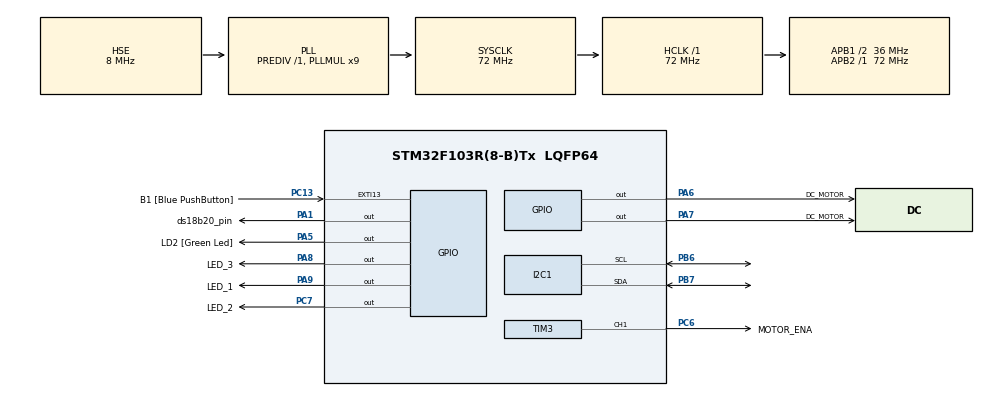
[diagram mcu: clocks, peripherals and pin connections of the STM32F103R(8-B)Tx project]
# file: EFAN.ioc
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Mcu.Family=STM32F1
Mcu.Name=STM32F103R(8-B)Tx
Mcu.Package=LQFP64
NVIC.EXTI15_10_IRQn=true\:0\:0\:false\:false\:true\:true\:true\:true
NVIC.PriorityGroup=NVIC_PRIORITYGROUP_4
NVIC.TIM3_IRQn=true\:0\:0\:false\:false\:true\:true\:true\:true
PA1.GPIO_Label=ds18b20_pin
PA1.Signal=GPIO_Output
PA13.GPIO_Label=TMS
PA13.Mode=Serial_Wire
PA13.Signal=SYS_JTMS-SWDIO
PA14.GPIO_Label=TCK
PA14.Mode=Serial_Wire
PA14.Signal=SYS_JTCK-SWCLK
PA2.GPIO_Label=USART_TX
PA2.GPIO_Mode=GPIO_MODE_AF_PP
PA2.GPIO_PuPd=GPIO_NOPULL
PA2.GPIO_Speed=GPIO_SPEED_FREQ_LOW
PA2.Signal=USART2_TX
PA3.GPIO_Label=USART_RX
PA3.GPIO_Mode=GPIO_MODE_AF_PP
PA3.GPIO_PuPd=GPIO_NOPULL
PA3.GPIO_Speed=GPIO_SPEED_FREQ_LOW
PA3.Signal=USART2_RX
PA5.GPIO_Label=LD2 [Green Led]
PA5.GPIO_ModeDefaultOutputPP=GPIO_MODE_OUTPUT_PP
PA5.GPIO_PuPd=GPIO_NOPULL
PA5.GPIO_Speed=GPIO_SPEED_FREQ_LOW
PA5.Signal=GPIO_Output
PA6.GPIO_Label=DC_MOTOR
PA6.Signal=GPIO_Output
PA7.GPIO_Label=DC_MOTOR
PA7.Signal=GPIO_Output
PA8.GPIO_Label=LED_3
PA8.Signal=GPIO_Output
PA9.GPIO_Label=LED_1
PA9.Signal=GPIO_Output
PB3.GPIO_Label=SWO
PB3.Signal=SYS_JTDO-TRACESWO
PB6.Mode=I2C
PB6.Signal=I2C1_SCL
PB7.Mode=I2C
PB7.Signal=I2C1_SDA
PC13-TAMPER-RTC.GPIO_Label=B1 [Blue PushButton]
PC13-TAMPER-RTC.GPIO_PuPd=GPIO_NOPULL
PC13-TAMPER-RTC.Signal=GPXTI13
PC14-OSC32_IN.Mode=LSE-External-Oscillator
PC14-OSC32_IN.Signal=RCC_OSC32_IN
PC15-OSC32_OUT.Mode=LSE-External-Oscillator
PC15-OSC32_OUT.Signal=RCC_OSC32_OUT
PC6.GPIO_Label=MOTOR_ENA
PC6.Signal=S_TIM3_CH1
PC7.GPIO_Label=LED_2
PC7.Signal=GPIO_Output
PD0-OSC_IN.Mode=HSE-External-Oscillator
PD0-OSC_IN.Signal=RCC_OSC_IN
PD1-OSC_OUT.Mode=HSE-External-Oscillator
PD1-OSC_OUT.Signal=RCC_OSC_OUT
ProjectManager.HeapSize=0x200
ProjectManager.StackSize=0x400
ProjectManager.TargetToolchain=STM32CubeIDE
RCC.AHBFreq_Value=72000000
RCC.APB1CLKDivider=RCC_HCLK_DIV2
RCC.APB1Freq_Value=36000000
RCC.APB1TimFreq_Value=72000000
RCC.APB2Freq_Value=72000000
RCC.APB2TimFreq_Value=72000000
RCC.HCLKFreq_Value=72000000
RCC.PLLMUL=RCC_PLL_MUL9
RCC.PLLSourceVirtual=RCC_PLLSOURCE_HSE
RCC.RTCClockSelection=RCC_RTCCLKSOURCE_LSE
RCC.SYSCLKFreq_VALUE=72000000
RCC.SYSCLKSource=RCC_SYSCLKSOURCE_PLLCLK
RCC.USBFreq_Value=72000000
SH.S_TIM3_CH1.0=TIM3_CH1,PWM Generation1 CH1
TIM1.Period=65535-1
TIM1.Prescaler=72-1
TIM3.Channel-PWM\ Generation1\ CH1=TIM_CHANNEL_1
TIM3.Period=2000-1
TIM3.Prescaler=72-1
VP_TIM1_VS_ClockSourceINT.Mode=Internal
VP_TIM3_VS_ClockSourceINT.Mode=Internal
board=NUCLEO-F103RB

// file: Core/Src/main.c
/* USER CODE BEGIN Header */
/**
  ******************************************************************************
  * @file           : main.c
  * @brief          : Main program body
  ******************************************************************************
  * @attention
  *
  * Copyright (c) 2025 STMicroelectronics.
  * All rights reserved.
  *
  * This software is licensed under terms that can be found in the LICENSE file
  * in the root directory of this software component.
  * If no LICENSE file comes with this software, it is provided AS-IS.
  *
  ******************************************************************************
  */
/* USER CODE END Header */
#include "main.h"

/* USER CODE BEGIN Includes */
#include "i2c-lcd.h"
#include "ds18b20.h"
#include "Motor.h"
/* USER CODE END Includes */

I2C_HandleTypeDef hi2c1;

TIM_HandleTypeDef htim1;
TIM_HandleTypeDef htim3;

void SystemClock_Config(void);
static void MX_GPIO_Init(void);
static void MX_I2C1_Init(void);
static void MX_TIM1_Init(void);
static void MX_TIM3_Init(void);

/* USER CODE BEGIN 0 */
float TEM; //Temperature

/* USER CODE END 0 */

int main(void)
{

  /* MCU Configuration--------------------------------------------------------*/

  /* Reset of all peripherals, Initializes the Flash interface and the Systick. */
  HAL_Init();

  /* Configure the system clock */
  SystemClock_Config();

  /* Initialize all configured peripherals */
  MX_GPIO_Init();
  MX_I2C1_Init();
  MX_TIM1_Init();
  MX_TIM3_Init();
  /* USER CODE BEGIN 2 */
  HAL_TIM_Base_Start(&htim1);
  HAL_TIM_PWM_Start(&htim3,TIM_CHANNEL_1);
  lcd_init();
  lcd_clear();
  lcd_put_cur(0,0);
  Motor_Stop();

  /* USER CODE END 2 */

  /* Infinite loop */
  /* USER CODE BEGIN WHILE */
  while (1)
  {
	  TEM = DS18B20_Temperature(); // measure Temperature
	  lcd_Display_Temp(TEM); // print Temperature

	  //Temperature is below 21
	  	  if(TEM<21){
	  		  //ALL LED OFF
	  		  HAL_GPIO_WritePin(GPIOA,GPIO_PIN_9,0); // LED1
	  		  HAL_GPIO_WritePin(GPIOC,GPIO_PIN_7,0); // LED2
	  		  HAL_GPIO_WritePin(GPIOA,GPIO_PIN_8,0); // LED3
	  		  //Motor Stop
	  		  Motor_Stop();
	  	  }

	  //Temperature is above 21 and below 22
	  if(21<=TEM&&TEM<22){
		  //LED1 ON
		  HAL_GPIO_WritePin(GPIOA,GPIO_PIN_9,1);
		  HAL_GPIO_WritePin(GPIOC,GPIO_PIN_7,0);
		  HAL_GPIO_WritePin(GPIOA,GPIO_PIN_8,0);
		  //Run the Motor at Low speed
		  Motor_Run_Lowspeed();
	  }

	  //Temperature is above 22 and below 23
	  if(22<=TEM&&TEM<23){
		  //LED1,2 ON
		  HAL_GPIO_WritePin(GPIOA,GPIO_PIN_9,1);
		  HAL_GPIO_WritePin(GPIOC,GPIO_PIN_7,1);
		  HAL_GPIO_WritePin(GPIOA,GPIO_PIN_8,0);
		  //Run the Motor at Medium speed
		  Motor_Run_Mediumspeed();
	  }

	  //Temperature is above 23
	  if(23<=TEM){
		  //LED1,2,3 ON
		  HAL_GPIO_WritePin(GPIOA,GPIO_PIN_9,1);
		  HAL_GPIO_WritePin(GPIOC,GPIO_PIN_7,1);
		  HAL_GPIO_WritePin(GPIOA,GPIO_PIN_8,1);
		  //Run the Motor at High speed
		  Motor_Run_Highspeed();
	  }

    /* USER CODE END WHILE */

  }
}

void SystemClock_Config(void)
{
  RCC_OscInitTypeDef RCC_OscInitStruct = {0};
  RCC_ClkInitTypeDef RCC_ClkInitStruct = {0};

  /** Initializes the RCC Oscillators according to the specified parameters
  * in the RCC_OscInitTypeDef structure.
  */
  RCC_OscInitStruct.OscillatorType = RCC_OSCILLATORTYPE_HSE;
  RCC_OscInitStruct.HSEState = RCC_HSE_ON;
  RCC_OscInitStruct.HSEPredivValue = RCC_HSE_PREDIV_DIV1;
  RCC_OscInitStruct.HSIState = RCC_HSI_ON;
  RCC_OscInitStruct.PLL.PLLState = RCC_PLL_ON;
  RCC_OscInitStruct.PLL.PLLSource = RCC_PLLSOURCE_HSE;
  RCC_OscInitStruct.PLL.PLLMUL = RCC_PLL_MUL9;
  if (HAL_RCC_OscConfig(&RCC_OscInitStruct) != HAL_OK)
  {
    Error_Handler();
  }

  /** Initializes the CPU, AHB and APB buses clocks
  */
  RCC_ClkInitStruct.ClockType = RCC_CLOCKTYPE_HCLK|RCC_CLOCKTYPE_SYSCLK
                              |RCC_CLOCKTYPE_PCLK1|RCC_CLOCKTYPE_PCLK2;
  RCC_ClkInitStruct.SYSCLKSource = RCC_SYSCLKSOURCE_PLLCLK;
  RCC_ClkInitStruct.AHBCLKDivider = RCC_SYSCLK_DIV1;
  RCC_ClkInitStruct.APB1CLKDivider = RCC_HCLK_DIV2;
  RCC_ClkInitStruct.APB2CLKDivider = RCC_HCLK_DIV1;

  if (HAL_RCC_ClockConfig(&RCC_ClkInitStruct, FLASH_LATENCY_2) != HAL_OK)
  {
    Error_Handler();
  }
}

static void MX_I2C1_Init(void)
{

  hi2c1.Instance = I2C1;
  hi2c1.Init.ClockSpeed = 100000;
  hi2c1.Init.DutyCycle = I2C_DUTYCYCLE_2;
  hi2c1.Init.OwnAddress1 = 0;
  hi2c1.Init.AddressingMode = I2C_ADDRESSINGMODE_7BIT;
  hi2c1.Init.DualAddressMode = I2C_DUALADDRESS_DISABLE;
  hi2c1.Init.OwnAddress2 = 0;
  hi2c1.Init.GeneralCallMode = I2C_GENERALCALL_DISABLE;
  hi2c1.Init.NoStretchMode = I2C_NOSTRETCH_DISABLE;
  if (HAL_I2C_Init(&hi2c1) != HAL_OK)
  {
    Error_Handler();
  }

}

static void MX_TIM1_Init(void)
{

  TIM_ClockConfigTypeDef sClockSourceConfig = {0};
  TIM_MasterConfigTypeDef sMasterConfig = {0};

  htim1.Instance = TIM1;
  htim1.Init.Prescaler = 72-1;
  htim1.Init.CounterMode = TIM_COUNTERMODE_UP;
  htim1.Init.Period = 65535-1;
  htim1.Init.ClockDivision = TIM_CLOCKDIVISION_DIV1;
  htim1.Init.RepetitionCounter = 0;
  htim1.Init.AutoReloadPreload = TIM_AUTORELOAD_PRELOAD_DISABLE;
  if (HAL_TIM_Base_Init(&htim1) != HAL_OK)
  {
    Error_Handler();
  }
  sClockSourceConfig.ClockSource = TIM_CLOCKSOURCE_INTERNAL;
  if (HAL_TIM_ConfigClockSource(&htim1, &sClockSourceConfig) != HAL_OK)
  {
    Error_Handler();
  }
  sMasterConfig.MasterOutputTrigger = TIM_TRGO_RESET;
  sMasterConfig.MasterSlaveMode = TIM_MASTERSLAVEMODE_DISABLE;
  if (HAL_TIMEx_MasterConfigSynchronization(&htim1, &sMasterConfig) != HAL_OK)
  {
    Error_Handler();
  }

}

static void MX_TIM3_Init(void)
{

  TIM_ClockConfigTypeDef sClockSourceConfig = {0};
  TIM_MasterConfigTypeDef sMasterConfig = {0};
  TIM_OC_InitTypeDef sConfigOC = {0};

  htim3.Instance = TIM3;
  htim3.Init.Prescaler = 72-1;
  htim3.Init.CounterMode = TIM_COUNTERMODE_UP;
  htim3.Init.Period = 2000-1;
  htim3.Init.ClockDivision = TIM_CLOCKDIVISION_DIV1;
  htim3.Init.AutoReloadPreload = TIM_AUTORELOAD_PRELOAD_DISABLE;
  if (HAL_TIM_Base_Init(&htim3) != HAL_OK)
  {
    Error_Handler();
  }
  sClockSourceConfig.ClockSource = TIM_CLOCKSOURCE_INTERNAL;
  if (HAL_TIM_ConfigClockSource(&htim3, &sClockSourceConfig) != HAL_OK)
  {
    Error_Handler();
  }
  if (HAL_TIM_PWM_Init(&htim3) != HAL_OK)
  {
    Error_Handler();
  }
  sMasterConfig.MasterOutputTrigger = TIM_TRGO_RESET;
  sMasterConfig.MasterSlaveMode = TIM_MASTERSLAVEMODE_DISABLE;
  if (HAL_TIMEx_MasterConfigSynchronization(&htim3, &sMasterConfig) != HAL_OK)
  {
    Error_Handler();
  }
  sConfigOC.OCMode = TIM_OCMODE_PWM1;
  sConfigOC.Pulse = 0;
  sConfigOC.OCPolarity = TIM_OCPOLARITY_HIGH;
  sConfigOC.OCFastMode = TIM_OCFAST_DISABLE;
  if (HAL_TIM_PWM_ConfigChannel(&htim3, &sConfigOC, TIM_CHANNEL_1) != HAL_OK)
  {
    Error_Handler();
  }
  HAL_TIM_MspPostInit(&htim3);

}

static void MX_GPIO_Init(void)
{
  GPIO_InitTypeDef GPIO_InitStruct = {0};

  /* GPIO Ports Clock Enable */
  __HAL_RCC_GPIOC_CLK_ENABLE();
  __HAL_RCC_GPIOD_CLK_ENABLE();
  __HAL_RCC_GPIOA_CLK_ENABLE();
  __HAL_RCC_GPIOB_CLK_ENABLE();

  /*Configure GPIO pin Output Level */
  HAL_GPIO_WritePin(GPIOA, ds18b20_pin_Pin|LD2_Pin|DC_MOTOR_Pin|DC_MOTORA7_Pin
                          |LED_3_Pin|LED_1_Pin, GPIO_PIN_RESET);

  /*Configure GPIO pin Output Level */
  HAL_GPIO_WritePin(LED_2_GPIO_Port, LED_2_Pin, GPIO_PIN_RESET);

  /*Configure GPIO pin : B1_Pin */
  GPIO_InitStruct.Pin = B1_Pin;
  GPIO_InitStruct.Mode = GPIO_MODE_IT_RISING;
  GPIO_InitStruct.Pull = GPIO_NOPULL;
  HAL_GPIO_Init(B1_GPIO_Port, &GPIO_InitStruct);

  /*Configure GPIO pins : ds18b20_pin_Pin LD2_Pin DC_MOTOR_Pin DC_MOTORA7_Pin
                           LED_3_Pin LED_1_Pin */
  GPIO_InitStruct.Pin = ds18b20_pin_Pin|LD2_Pin|DC_MOTOR_Pin|DC_MOTORA7_Pin
                          |LED_3_Pin|LED_1_Pin;
  GPIO_InitStruct.Mode = GPIO_MODE_OUTPUT_PP;
  GPIO_InitStruct.Pull = GPIO_NOPULL;
  GPIO_InitStruct.Speed = GPIO_SPEED_FREQ_LOW;
  HAL_GPIO_Init(GPIOA, &GPIO_InitStruct);

  /*Configure GPIO pins : USART_TX_Pin USART_RX_Pin */
  GPIO_InitStruct.Pin = USART_TX_Pin|USART_RX_Pin;
  GPIO_InitStruct.Mode = GPIO_MODE_AF_PP;
  GPIO_InitStruct.Speed = GPIO_SPEED_FREQ_LOW;
  HAL_GPIO_Init(GPIOA, &GPIO_InitStruct);

  /*Configure GPIO pin : LED_2_Pin */
  GPIO_InitStruct.Pin = LED_2_Pin;
  GPIO_InitStruct.Mode = GPIO_MODE_OUTPUT_PP;
  GPIO_InitStruct.Pull = GPIO_NOPULL;
  GPIO_InitStruct.Speed = GPIO_SPEED_FREQ_LOW;
  HAL_GPIO_Init(LED_2_GPIO_Port, &GPIO_InitStruct);

  /* EXTI interrupt init*/
  HAL_NVIC_SetPriority(EXTI15_10_IRQn, 0, 0);
  HAL_NVIC_EnableIRQ(EXTI15_10_IRQn);

}

void Error_Handler(void)
{
  __disable_irq();
  while (1)
  {
  }
}
